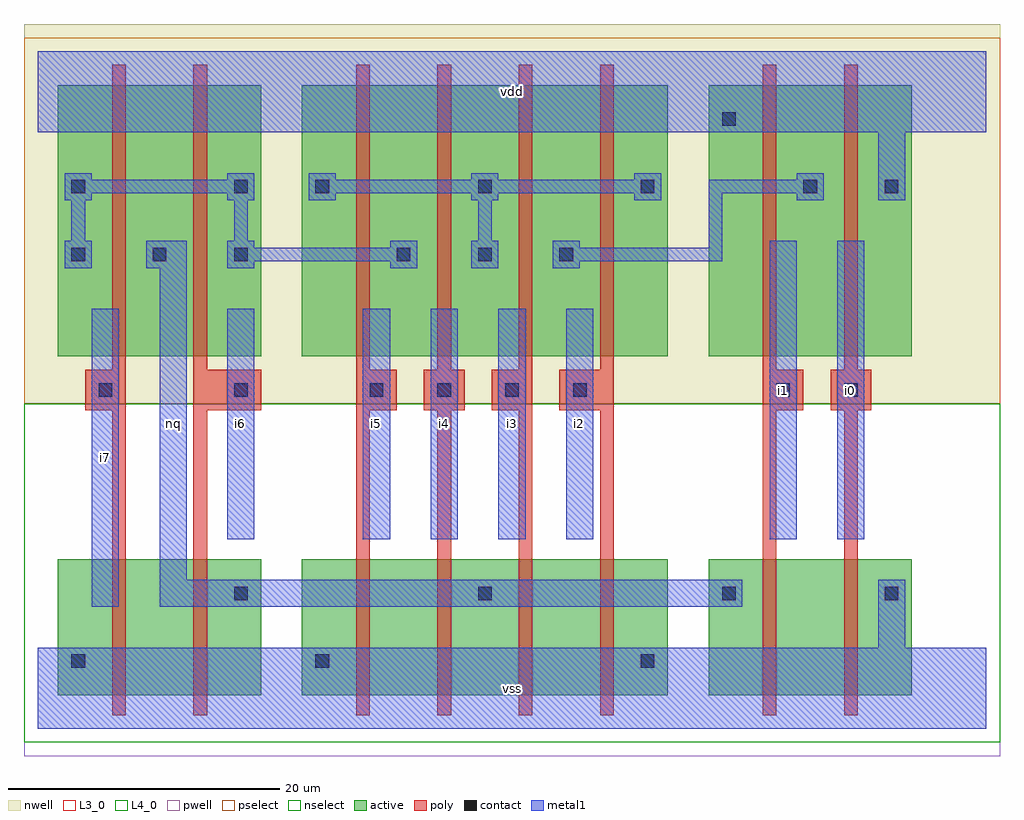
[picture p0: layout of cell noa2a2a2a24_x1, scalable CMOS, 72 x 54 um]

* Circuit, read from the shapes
.subckt noa2a2a2a24_x1 i0 i1 i2 i3 i4 i5 i6 i7 nq vdd vss
M1 n1 i7 vss VSUBS nfet w=10u l=1u
M2 nq i6 n1 VSUBS nfet w=10u l=1u
M3 n2 i5 vss VSUBS nfet w=10u l=1u
M4 nq i4 n2 VSUBS nfet w=10u l=1u
M5 n3 i3 nq VSUBS nfet w=10u l=1u
M6 vss i2 n3 VSUBS nfet w=10u l=1u
M7 n4 i1 nq VSUBS nfet w=10u l=1u
M8 vss i0 n4 VSUBS nfet w=10u l=1u
M9 nq i7 n5 n6 pfet w=20u l=1u
M10 n5 i6 nq n6 pfet w=20u l=1u
M11 n5 i5 n7 n6 pfet w=20u l=1u
M12 n7 i4 n5 n6 pfet w=20u l=1u
M13 n8 i3 n7 n6 pfet w=20u l=1u
M14 n7 i2 n8 n6 pfet w=20u l=1u
M15 n8 i1 vdd n6 pfet w=20u l=1u
M16 vdd i0 n8 n6 pfet w=20u l=1u
.ends

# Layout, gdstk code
import gdstk
lib = gdstk.Library(unit=1e-6, precision=1e-09)
def R(c, l, rs):  # rectangles x0, y0, x1, y1
    for r in rs: c.add(gdstk.rectangle(r[:2], r[2:], *l))
def A(c, l, x, y, w, h, nx, ny, dx, dy):  # array of equal rectangles
    R(c, l, [(x+i*dx, y+j*dy, x+i*dx+w, y+j*dy+h) for i in range(nx) for j in range(ny)])
L3_0 = (3, 0)
L4_0 = (4, 0)
contact = (25, 0)
pwell = (41, 0)
nwell = (42, 0)
active = (43, 0)
pselect = (44, 0)
nselect = (45, 0)
poly = (46, 0)
metal1 = (49, 0)

noa2a2a2a24_x1 = lib.new_cell('noa2a2a2a24_x1')
R(noa2a2a2a24_x1, L3_0, [(1.5,2.5,16.5,12.5), (19.5,2.5,46.5,12.5), (49.5,2.5,64.5,12.5)])
R(noa2a2a2a24_x1, L4_0, [(1.5,27.5,16.5,47.5), (19.5,27.5,46.5,47.5), (49.5,27.5,64.5,47.5)])
A(noa2a2a2a24_x1, contact, 14.5, 9.5, 1, 1, 3, 1, 18, 0)
A(noa2a2a2a24_x1, contact, 4.5, 24.5, 1, 1, 3, 1, 10, 0)
A(noa2a2a2a24_x1, contact, 29.5, 24.5, 1, 1, 3, 1, 5, 0)
A(noa2a2a2a24_x1, contact, 2.5, 34.5, 1, 1, 3, 1, 6, 0)
A(noa2a2a2a24_x1, contact, 26.5, 34.5, 1, 1, 3, 1, 6, 0)
A(noa2a2a2a24_x1, contact, 20.5, 39.5, 1, 1, 4, 1, 12, 0)
R(noa2a2a2a24_x1, contact, [(2.5,4.5,3.5,5.5), (20.5,4.5,21.5,5.5), (44.5,4.5,45.5,5.5), (62.5,9.5,63.5,10.5), (54.5,24.5,55.5,25.5), (59.5,24.5,60.5,25.5), (2.5,39.5,3.5,40.5), (14.5,39.5,15.5,40.5), (62.5,39.5,63.5,40.5), (50.5,44.5,51.5,45.5)])
R(noa2a2a2a24_x1, pwell, [(-1,-2,71,24)])
R(noa2a2a2a24_x1, nwell, [(-1,24,71,52)])
R(noa2a2a2a24_x1, active, [(1.5,2.5,16.5,12.5), (19.5,2.5,46.5,12.5), (49.5,2.5,64.5,12.5), (1.5,27.5,16.5,47.5), (19.5,27.5,46.5,47.5), (49.5,27.5,64.5,47.5)])
R(noa2a2a2a24_x1, pselect, [(-1,24,71,51)])
R(noa2a2a2a24_x1, nselect, [(-1,-1,71,24)])
A(noa2a2a2a24_x1, poly, 23.5, 1, 1, 22.5, 4, 2, 6, 25.5)
A(noa2a2a2a24_x1, poly, 23.5, 23.5, 3, 3, 3, 1, 5, 0)
R(noa2a2a2a24_x1, poly, [(5.5,1,6.5,23.5), (11.5,1,12.5,23.5), (53.5,1,54.5,23.5), (59.5,1,60.5,23.5), (3.5,23.5,6.5,26.5), (11.5,23.5,16.5,26.5), (38.5,23.5,42.5,26.5), (53.5,23.5,56.5,26.5), (58.5,23.5,61.5,26.5), (5.5,26.5,6.5,49), (11.5,26.5,12.5,49), (53.5,26.5,54.5,49), (59.5,26.5,60.5,49)])
A(noa2a2a2a24_x1, metal1, 24, 14, 2, 17, 4, 1, 5, 0)
A(noa2a2a2a24_x1, metal1, 14, 34, 2, 0.5, 3, 2, 12, 1.5)
A(noa2a2a2a24_x1, metal1, 20, 39, 2, 0.5, 4, 2, 12, 1.5)
R(noa2a2a2a24_x1, metal1, [(0,0,70,6), (62,6,64,11), (4,9,6,31), (9,9,52,11), (9,11,11,34), (14,14,16,31), (54,14,56,36), (59,14,61,36), (2,34,4,36), (8,34,11,36), (32,34,34,36), (14,34.5,28,35.5), (38,34.5,50.5,35.5), (49.5,35.5,50.5,39.5), (2.5,36,3.5,39), (14.5,36,15.5,39), (32.5,36,33.5,39), (2,39,4,39.5), (14,39,16,39.5), (62,39,64,44), (2,39.5,16,40.5), (20,39.5,46,40.5), (49.5,39.5,58,40.5), (2,40.5,4,41), (14,40.5,16,41), (0,44,70,50)])
noa2a2a2a24_x1.add(gdstk.Label('nq', (10,22.5), layer=49, texttype=0))
noa2a2a2a24_x1.add(gdstk.Label('i7', (5,20), layer=49, texttype=0))
noa2a2a2a24_x1.add(gdstk.Label('i5', (25,22.5), layer=49, texttype=0))
noa2a2a2a24_x1.add(gdstk.Label('i6', (15,22.5), layer=49, texttype=0))
noa2a2a2a24_x1.add(gdstk.Label('vss', (35,3), layer=49, texttype=0))
noa2a2a2a24_x1.add(gdstk.Label('i3', (35,22.5), layer=49, texttype=0))
noa2a2a2a24_x1.add(gdstk.Label('i2', (40,22.5), layer=49, texttype=0))
noa2a2a2a24_x1.add(gdstk.Label('i4', (30,22.5), layer=49, texttype=0))
noa2a2a2a24_x1.add(gdstk.Label('vdd', (35,47), layer=49, texttype=0))
noa2a2a2a24_x1.add(gdstk.Label('i1', (55,25), layer=49, texttype=0))
noa2a2a2a24_x1.add(gdstk.Label('i0', (60,25), layer=49, texttype=0))

lib.write_gds('noa2a2a2a24_x1.gds')
